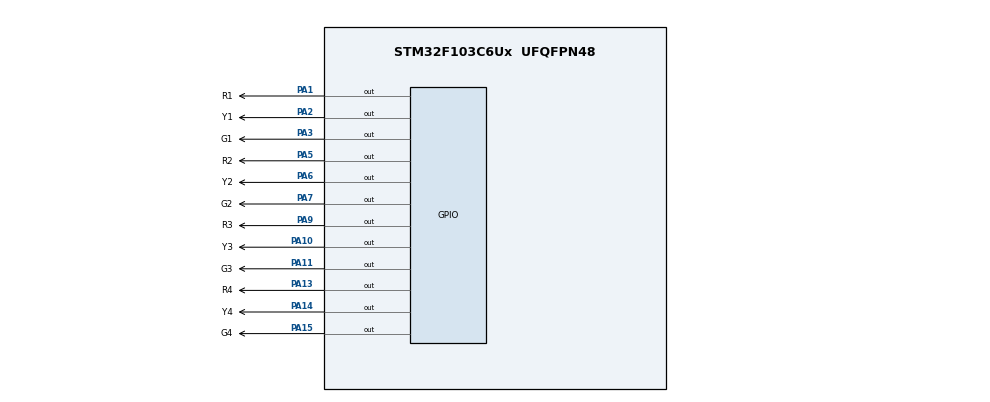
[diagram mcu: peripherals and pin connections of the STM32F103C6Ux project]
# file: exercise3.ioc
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Mcu.Family=STM32F1
Mcu.Name=STM32F103C6Ux
Mcu.Package=UFQFPN48
NVIC.PriorityGroup=NVIC_PRIORITYGROUP_4
PA1.GPIO_Label=R1
PA1.Signal=GPIO_Output
PA10.GPIO_Label=Y3
PA10.Signal=GPIO_Output
PA11.GPIO_Label=G3
PA11.Signal=GPIO_Output
PA13.GPIO_Label=R4
PA13.Signal=GPIO_Output
PA14.GPIO_Label=Y4
PA14.Signal=GPIO_Output
PA15.GPIO_Label=G4
PA15.Signal=GPIO_Output
PA2.GPIO_Label=Y1
PA2.Signal=GPIO_Output
PA3.GPIO_Label=G1
PA3.Signal=GPIO_Output
PA5.GPIO_Label=R2
PA5.Signal=GPIO_Output
PA6.GPIO_Label=Y2
PA6.Signal=GPIO_Output
PA7.GPIO_Label=G2
PA7.Signal=GPIO_Output
PA9.GPIO_Label=R3
PA9.Signal=GPIO_Output
ProjectManager.HeapSize=0x200
ProjectManager.StackSize=0x400
ProjectManager.TargetToolchain=STM32CubeIDE
RCC.APB1Freq_Value=8000000
RCC.APB2Freq_Value=8000000
VP_SYS_VS_ND.Mode=No_Debug
board=custom

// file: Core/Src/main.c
/* USER CODE BEGIN Header */
/**
  ******************************************************************************
  * @file           : main.c
  * @brief          : Main program body
  ******************************************************************************
  * @attention
  *
  * <h2><center>&copy; Copyright (c) 2023 STMicroelectronics.
  * All rights reserved.</center></h2>
  *
  * This software component is licensed by ST under BSD 3-Clause license,
  * the "License"; You may not use this file except in compliance with the
  * License. You may obtain a copy of the License at:
  *                        opensource.org/licenses/BSD-3-Clause
  *
  ******************************************************************************
  */
/* USER CODE END Header */
#include "main.h"

void SystemClock_Config(void);
static void MX_GPIO_Init(void);

/* USER CODE BEGIN 0 */
// index: 1 = red, 2 = yellow, 3 = green
void light(uint16_t red, uint16_t yellow, uint16_t green, int index) {
	HAL_GPIO_WritePin(GPIOA, red, index != 1);
	HAL_GPIO_WritePin(GPIOA, yellow, index != 2);
	HAL_GPIO_WritePin(GPIOA, green, index != 3);
}

/* USER CODE END 0 */

int main(void)
{

  /* MCU Configuration--------------------------------------------------------*/

  /* Reset of all peripherals, Initializes the Flash interface and the Systick. */
  HAL_Init();

  /* Configure the system clock */
  SystemClock_Config();

  /* Initialize all configured peripherals */
  MX_GPIO_Init();

  /* Infinite loop */
  int cnt = 1;
  /* USER CODE BEGIN WHILE */
  while (1)
  {
	  if (cnt < 6) {
	      // Red on
		  light(R1_Pin, Y1_Pin, G1_Pin, 1);
		  light(R4_Pin, Y4_Pin, G4_Pin, 1);
	  } else if (cnt < 9) {
	      // Green on
		  light(R1_Pin, Y1_Pin, G1_Pin, 3);
		  light(R4_Pin, Y4_Pin, G4_Pin, 3);
	  } else {
	      // Yellow on
		  light(R1_Pin, Y1_Pin, G1_Pin, 2);
		  light(R4_Pin, Y4_Pin, G4_Pin, 2);
	  }

	  if (cnt < 4) {
	      // Green on
		  light(R2_Pin, Y2_Pin, G2_Pin, 3);
		  light(R3_Pin, Y3_Pin, G3_Pin, 3);
	  } else if (cnt < 6) {
	      // Yellow on
		  light(R2_Pin, Y2_Pin, G2_Pin, 2);
		  light(R3_Pin, Y3_Pin, G3_Pin, 2);
	  } else {
	      // Red on
		  light(R2_Pin, Y2_Pin, G2_Pin, 1);
		  light(R3_Pin, Y3_Pin, G3_Pin, 1);
	  }

	  cnt = cnt == 10 ? cnt - 10 + 1 : cnt + 1;
	  HAL_Delay(1000); // Wait for 1 seconds
    /* USER CODE END WHILE */

  }
}

void SystemClock_Config(void)
{
  RCC_OscInitTypeDef RCC_OscInitStruct = {0};
  RCC_ClkInitTypeDef RCC_ClkInitStruct = {0};

  /** Initializes the RCC Oscillators according to the specified parameters
  * in the RCC_OscInitTypeDef structure.
  */
  RCC_OscInitStruct.OscillatorType = RCC_OSCILLATORTYPE_HSI;
  RCC_OscInitStruct.HSIState = RCC_HSI_ON;
  RCC_OscInitStruct.HSICalibrationValue = RCC_HSICALIBRATION_DEFAULT;
  RCC_OscInitStruct.PLL.PLLState = RCC_PLL_NONE;
  if (HAL_RCC_OscConfig(&RCC_OscInitStruct) != HAL_OK)
  {
    Error_Handler();
  }
  /** Initializes the CPU, AHB and APB buses clocks
  */
  RCC_ClkInitStruct.ClockType = RCC_CLOCKTYPE_HCLK|RCC_CLOCKTYPE_SYSCLK
                              |RCC_CLOCKTYPE_PCLK1|RCC_CLOCKTYPE_PCLK2;
  RCC_ClkInitStruct.SYSCLKSource = RCC_SYSCLKSOURCE_HSI;
  RCC_ClkInitStruct.AHBCLKDivider = RCC_SYSCLK_DIV1;
  RCC_ClkInitStruct.APB1CLKDivider = RCC_HCLK_DIV1;
  RCC_ClkInitStruct.APB2CLKDivider = RCC_HCLK_DIV1;

  if (HAL_RCC_ClockConfig(&RCC_ClkInitStruct, FLASH_LATENCY_0) != HAL_OK)
  {
    Error_Handler();
  }
}

static void MX_GPIO_Init(void)
{
  GPIO_InitTypeDef GPIO_InitStruct = {0};

  /* GPIO Ports Clock Enable */
  __HAL_RCC_GPIOA_CLK_ENABLE();

  /*Configure GPIO pin Output Level */
  HAL_GPIO_WritePin(GPIOA, R1_Pin|Y1_Pin|G1_Pin|R2_Pin
                          |Y2_Pin|G2_Pin|R3_Pin|Y3_Pin
                          |G3_Pin|R4_Pin|Y4_Pin|G4_Pin, GPIO_PIN_RESET);

  /*Configure GPIO pins : R1_Pin Y1_Pin G1_Pin R2_Pin
                           Y2_Pin G2_Pin R3_Pin Y3_Pin
                           G3_Pin R4_Pin Y4_Pin G4_Pin */
  GPIO_InitStruct.Pin = R1_Pin|Y1_Pin|G1_Pin|R2_Pin
                          |Y2_Pin|G2_Pin|R3_Pin|Y3_Pin
                          |G3_Pin|R4_Pin|Y4_Pin|G4_Pin;
  GPIO_InitStruct.Mode = GPIO_MODE_OUTPUT_PP;
  GPIO_InitStruct.Pull = GPIO_NOPULL;
  GPIO_InitStruct.Speed = GPIO_SPEED_FREQ_LOW;
  HAL_GPIO_Init(GPIOA, &GPIO_InitStruct);

}

void Error_Handler(void)
{
  __disable_irq();
  while (1)
  {
  }
}

/************************ (C) COPYRIGHT STMicroelectronics *****END OF FILE****/
